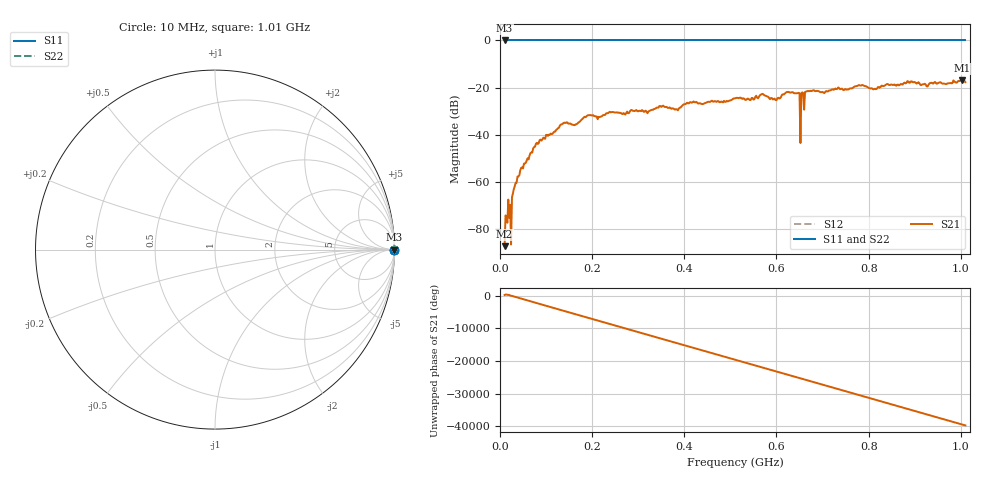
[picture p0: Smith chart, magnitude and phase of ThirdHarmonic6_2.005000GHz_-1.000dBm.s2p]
! 8/17/2025 12:05:13 AM
! C:\ANRITSUVNA\TEMP\TEMP.S2P
! CHANNEL.1
! TR.MEASUREMENT
! RAW.DATA
! RF.CORRECTION.OFF
! AVERAGING.OFF
! IF.BANDWIDTH: 5KHZ
! SWEEPTYPE:  FREQ.SWEEP(Linear)
! Reference Plane Port Info
! PORT:  PORT1  PORT2
! DISTANCE:  0  m  0  m
! TIME:  0  s  0  s
! PHASE.OFFSET:  0  deg.  0  deg.
! LOSS:  0  dB  0  dB
! REF.LOSS:  0  dB  0  dB
! REF.FREQ:  0  Hz  0  Hz
! Power Info
! POWER:  -20  dBm  -20  dBm
! EFF.POWER:  -20  dBm  -20  dBm
! SOURCE.ATTEN:  0  dB  0  dB
! TEST.ATTEN:  0  dB  0  dB
# GHZ S RI R 50.0
! FREQ.GHZ  S11RE  S11IM  S21RE  S21IM  S12RE  S12IM  S22RE  S22IM
!; PortSelection: Port_12
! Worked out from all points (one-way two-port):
!   501 points, 10 MHz to 1.01 GHz, reference 50 ohm
!   highest |S21| = -16.87 dB at 1.002 GHz (marker M1); lowest = -87.4 dB at 10 MHz (marker M2)
!   lowest |S11| = 0.0 dB at 10 MHz (marker M3)
!   |S11| at or under -10 dB: nowhere
!   |S22| runs from 0.0 to 0.0 dB; largest |S21 - S12| = 1.1
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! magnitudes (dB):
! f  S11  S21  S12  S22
! 10 MHz  0.0  -87.4  0.0  0.0
! 24 MHz  0.0  -86.7  0.0  0.0
! 30 MHz  0.0  -63.2  0.0  0.0
! 42 MHz  0.0  -57.3  0.0  0.0
! 76 MHz  0.0  -45.2  0.0  0.0
! 136 MHz  0.0  -35.4  0.0  0.0
! 178 MHz  0.0  -33.5  0.0  0.0
! 344 MHz  0.0  -28.5  0.0  0.0
! 384 MHz  0.0  -29.3  0.0  0.0
! 416 MHz  0.0  -26.5  0.0  0.0
! 510 MHz  0.0  -24.6  0.0  0.0
! 570 MHz  0.0  -22.7  0.0  0.0
! 596 MHz  0.0  -24.7  0.0  0.0
! 632 MHz  0.0  -22.1  0.0  0.0
! 646 MHz  0.0  -22.4  0.0  0.0
! 648 MHz  0.0  -22.3  0.0  0.0
! 656 MHz  0.0  -22.1  0.0  0.0
! 658 MHz  0.0  -22.4  0.0  0.0
! 678 MHz  0.0  -21.3  0.0  0.0
! 844 MHz  0.0  -18.9  0.0  0.0
! 1.002 GHz  0.0  -16.9  0.0  0.0
! 1.01 GHz  0.0  -17.7  0.0  0.0
